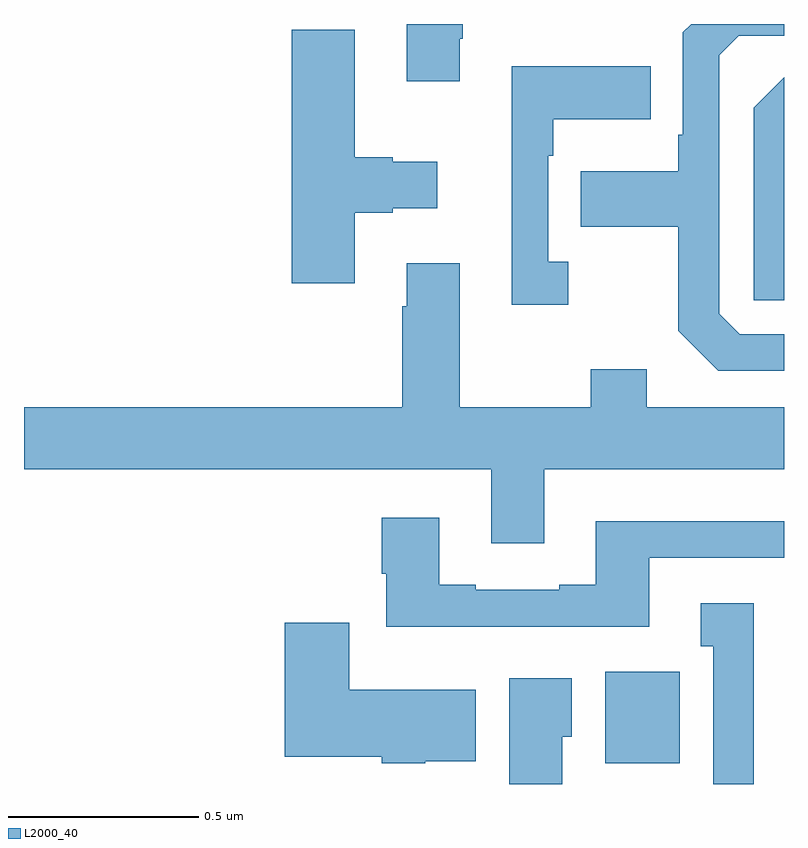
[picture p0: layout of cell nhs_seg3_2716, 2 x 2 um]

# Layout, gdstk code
import gdstk
lib = gdstk.Library(unit=1e-6, precision=1e-09)
def R(c, l, rs):  # rectangles x0, y0, x1, y1
    for r in rs: c.add(gdstk.rectangle(r[:2], r[2:], *l))
def P(c, l, *ps):  # polygons
    for p in ps: c.add(gdstk.Polygon(p, *l))
L2000_40 = (2000, 40)

nhs_seg3_2716 = lib.new_cell('nhs_seg3_2716')
R(nhs_seg3_2716, L2000_40, [(145.529,721.454,145.726,721.696)])
P(nhs_seg3_2716, L2000_40, [(145.147,723.361),(145.155,723.361),(145.155,723.4),(145.007,723.4),(145.007,723.249),(145.147,723.249)],
  [(146,722.583),(145.884,722.583),(145.83,722.637),(145.83,723.318),(145.881,723.369),(146,723.369),(146,723.4),(145.756,723.4),(145.734,723.378),(145.734,723.109),(145.722,723.109),(145.722,723.013),(145.465,723.013),(145.465,722.866),(145.722,722.866),(145.722,722.593),(145.827,722.487),(146,722.487)],
  [(144.871,722.903),(144.971,722.903),(144.971,722.915),(145.087,722.915),(145.087,723.037),(144.971,723.037),(144.971,723.05),(144.871,723.05),(144.871,723.385),(144.704,723.385),(144.704,722.718),(144.871,722.718)],
  [(145.432,722.774),(145.38,722.774),(145.38,723.053),(145.393,723.053),(145.393,723.149),(145.649,723.149),(145.649,723.289),(145.283,723.289),(145.283,722.661),(145.432,722.661)],
  [(146,723.26),(145.92,723.18),(145.92,722.673),(146,722.673)],
  [(145.369,722.228),(146,722.228),(146,722.392),(145.639,722.392),(145.639,722.491),(145.492,722.491),(145.492,722.392),(145.147,722.392),(145.147,722.77),(145.007,722.77),(145.007,722.657),(144.995,722.657),(144.995,722.392),(144,722.392),(144,722.228),(145.229,722.228),(145.229,722.034),(145.369,722.034)],
  [(145.645,721.995),(146,721.995),(146,722.092),(145.505,722.092),(145.505,721.924),(145.409,721.924),(145.409,721.911),(145.189,721.911),(145.189,721.924),(145.093,721.924),(145.093,722.101),(144.941,722.101),(144.941,721.953),(144.953,721.953),(144.953,721.814),(145.645,721.814)],
  [(145.921,721.876),(145.781,721.876),(145.781,721.763),(145.814,721.763),(145.814,721.4),(145.921,721.4)],
  [(145.056,721.46),(145.189,721.46),(145.189,721.648),(144.856,721.648),(144.856,721.825),(144.686,721.825),(144.686,721.472),(144.942,721.472),(144.942,721.454),(145.056,721.454)],
  [(145.417,721.524),(145.441,721.524),(145.441,721.678),(145.277,721.678),(145.277,721.4),(145.417,721.4)])

lib.write_gds('nhs_seg3_2716.gds')
